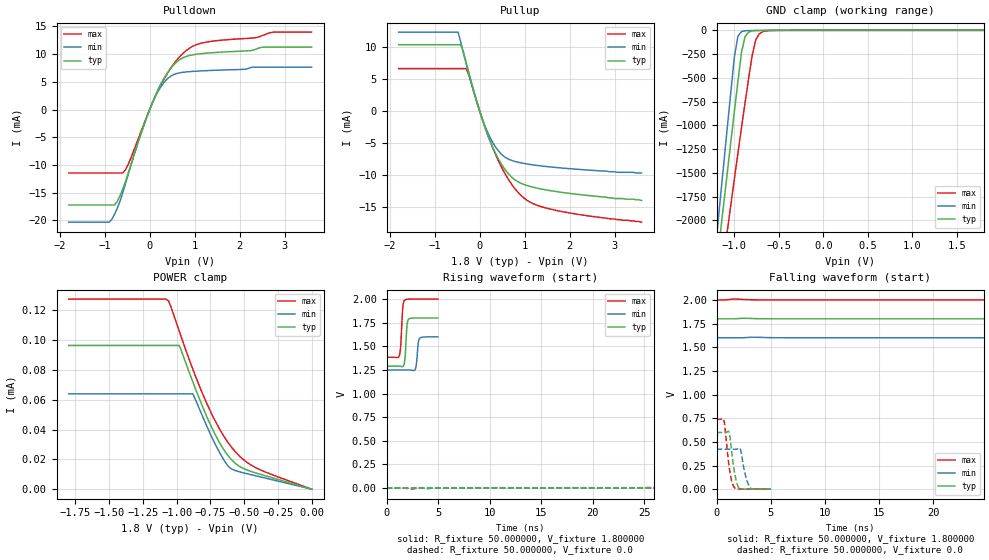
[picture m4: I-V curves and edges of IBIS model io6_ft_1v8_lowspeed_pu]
| [Disclaimer]  This information is for modeling purpose only and is
| not guaranted. The information is subject to change without
| notice.
| [Copyright] Copyright 2013 STMicroelectronics Inc.
| From stm32g0B0_0B1_0C1_fffflqfp32pd.ibs, stm32g0_467_lqfp32pd, STMicroelectronics
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|   Model io6_ft_1v8_lowspeed_pu
[Model]  io6_ft_1v8_lowspeed_pu
Model_type I/O
Polarity   Non-Inverting
Enable   Active-Low
Vinl =   0.540000V
Vinh =   1.260000V
Vmeas =  0.900000V
Cref =   40.000000pF
Rref =   100.000000M
Vref =   0.0V
C_comp   1.277600pF   1.236700pF   1.315100pF
[Temperature Range]   25.000000   -40.000000   0.125000k
[Pullup Reference]   1.800000V   1.600000V   2.000000V
[Pulldown Reference]   0.0V   0.0V   0.0V
[POWER Clamp Reference]   1.800000V   1.600000V   2.000000V
[GND Clamp Reference]   0.0V   0.0V   0.0V
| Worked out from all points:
|   slope of the pulldown table from 0 to 0.27 V, typ, clamps not added: 54.7 ohm
|   slope of the pullup table from 0 to 0.27 V, typ, clamps not added: 50.6 ohm
|   GND clamp passes 1 mA (typ) near -0.66 V on its own axis
|   rising waveform, R_fixture 50.000000, V_fixture 1.800000: 20-80 % time 165ps typ, 168ps min, 179ps max; typ from 1.29 V to 1.8 V
|   rising waveform, R_fixture 50.000000, V_fixture 0.0: 20-80 % time 98.4ns typ, 95.4ns min, 113ns max; typ from 0.001 V to 0.599 V
|   falling waveform, R_fixture 50.000000, V_fixture 1.800000: 20-80 % time 97.1ns typ, 101ns min, 96.2ns max; typ from 1.8 V to 1.29 V
|   falling waveform, R_fixture 50.000000, V_fixture 0.0: 20-80 % time 437ps typ, 479ps min, 448ps max; typ from 0.599 V to 0.001 V
[Pulldown]
|Voltage   I(typ)   I(min)   I(max)
-1.8V     -17.22mA   -20.33mA   -11.45mA
-900mV    -17.22mA   -20.33mA   -11.45mA
-720mV    -16.58mA   -17.82mA   -11.45mA
-600mV    -14.41mA   -15.08mA   -11.45mA
-480mV    -11.58mA   -11.79mA   -9.954mA
0V        0A         0A         0A
240mV     4.49mA     3.999mA    4.291mA
480mV     7.563mA    6.085mA    7.612mA
780mV     9.487mA    6.76mA     10.43mA
1.14V     10.08mA    6.976mA    11.96mA
2.76V     11.26mA    7.647mA    13.98mA
3.6V      11.26mA    7.647mA    13.98mA
[Pullup]
|Voltage   I(typ)   I(min)   I(max)
-1.8V     10.37mA    12.34mA    6.631mA
-480mV    10.37mA    12.34mA    6.631mA
-420mV    10.37mA    10.77mA    6.631mA
-300mV    7.616mA    7.38mA     6.631mA
-240mV    5.996mA    5.774mA    5.612mA
-60mV     1.422mA    1.342mA    1.368mA
120mV     -2.604mA   -2.366mA   -2.562mA
360mV     -6.731mA   -5.708mA   -6.907mA
600mV     -9.499mA   -7.385mA   -10.25mA
960mV     -11.43mA   -8.172mA   -13.47mA
1.32V     -12.13mA   -8.557mA   -14.85mA
3.6V      -14mA      -9.7mA     -17.4mA
[GND_clamp]
|Voltage   I(typ)   I(min)   I(max)
-1.8V     -7.471A    -7.973A    -7.298A
-1.2V     -2.489A    -2.18A     -2.954A
-1.16V    -2.16A     -1.797A    -2.674A
-1.08V    -1.505A    -1.034A    -2.118A
-1V       -857.9mA   -283.1mA   -1.568A
-960mV    -540.4mA   -62.14mA   -1.296A
-920mV    -234.4mA   -13.75mA   -1.028A
-880mV    -66.29mA   -4.855mA   -765.3mA
-800mV    -6.505mA   -2.056mA   -266mA
-760mV    -3.074mA   -1.45mA    -100.4mA
-680mV    -1.215mA   -557.1uA   -14.19mA
1.8V      0A         0A         0A
[POWER_clamp]
|Voltage   I(typ)   I(min)   I(max)
-1.8V     96.34uA    63.94uA    127.5uA
-1.08V    96.34uA    63.94uA    127.5uA
-1.06V    96.34uA    63.94uA    126.3uA
-980mV    96.34uA    63.94uA    105.8uA
-880mV    71.93uA    63.94uA    80.41uA
-800mV    53.62uA    47.15uA    62.36uA
-720mV    37.64uA    31.24uA    46.77uA
-640mV    25.08uA    18.16uA    34.09uA
-600mV    20.4uA     13.93uA    28.92uA
-520mV    14.54uA    11.31uA    20.97uA
-420mV    11.06uA    9.102uA    14.71uA
0V        0A         0A         0A
[Ramp]
| variable   typ   min   max
dV/dt_r  0.35721/98.29899n   0.25176/95.43765n   0.43824/0.11291u
dV/dt_f  0.29976/96.98901n   0.210/0.10064u   0.36510/96.17500n
R_load = 50.000000
[Rising Waveform]
R_fixture= 50.000000
V_fixture= 1.800000
V_fixture_min= 1.600000
V_fixture_max= 2.000000
|time   V(typ)   V(min)   V(max)
0s        1.29V      1.249V     1.384V
1.241ns   1.289V     1.249V     1.402V
1.381ns   1.287V     1.25V      1.516V
1.582ns   1.286V     1.25V      1.913V
1.742ns   1.329V     1.25V      1.986V
1.982ns   1.711V     1.25V      1.997V
2.142ns   1.785V     1.25V      1.998V
2.813ns   1.799V     1.264V     2V
3.243ns   1.8V       1.587V     2V
4.985ns   1.8V       1.6V       2V
[Rising Waveform]
R_fixture= 50.000000
V_fixture= 0.0
V_fixture_min= 0.0
V_fixture_max= 0.0
|time   V(typ)   V(min)   V(max)
0s        1.132mV    852.7uV    1.646mV
2.402ns   -187.8uV   845.7uV    -12.22mV
37.64ns   2.515mV    1.709mV    12.21mV
64.06ns   30.47mV    1.809mV    82.31mV
92.89ns   138.1mV    27.19mV    213mV
147.3ns   370.4mV    196.3mV    459.8mV
179.4ns   462.1mV    282.6mV    559.7mV
210.6ns   519.3mV    340.6mV    626.9mV
292.3ns   582.5mV    406.1mV    711mV
398.8ns   599.1mV    422.4mV    738.3mV
[Falling Waveform]
R_fixture= 50.000000
V_fixture= 1.800000
V_fixture_min= 1.600000
V_fixture_max= 2.000000
|time   V(typ)   V(min)   V(max)
0s        1.8V       1.6V       2V
52.85ns   1.8V       1.6V       1.983V
72.07ns   1.797V     1.6V       1.933V
95.3ns    1.77V      1.6V       1.841V
118.5ns   1.71V      1.599V     1.734V
156.2ns   1.571V     1.58V      1.577V
201ns     1.429V     1.498V     1.476V
245ns     1.357V     1.392V     1.431V
293.1ns   1.32V      1.312V     1.405V
398.8ns   1.29V      1.249V     1.384V
[Falling Waveform]
R_fixture= 50.000000
V_fixture= 0.0
V_fixture_min= 0.0
V_fixture_max= 0.0
|time   V(typ)   V(min)   V(max)
0s        599.1mV    422.4mV    738.3mV
680.7ps   598.9mV    422.5mV    729.1mV
1.151ns   604.6mV    422.7mV    248.2mV
1.411ns   385.3mV    422.7mV    81.01mV
1.652ns   184.6mV    422mV      16.85mV
1.902ns   55.7mV     424.5mV    4.534mV
2.202ns   6.494mV    423.2mV    2.579mV
2.673ns   2.083mV    146.2mV    1.873mV
3.133ns   1.375mV    12.99mV    1.704mV
4.985ns   1.132mV    852.7uV    1.646mV
